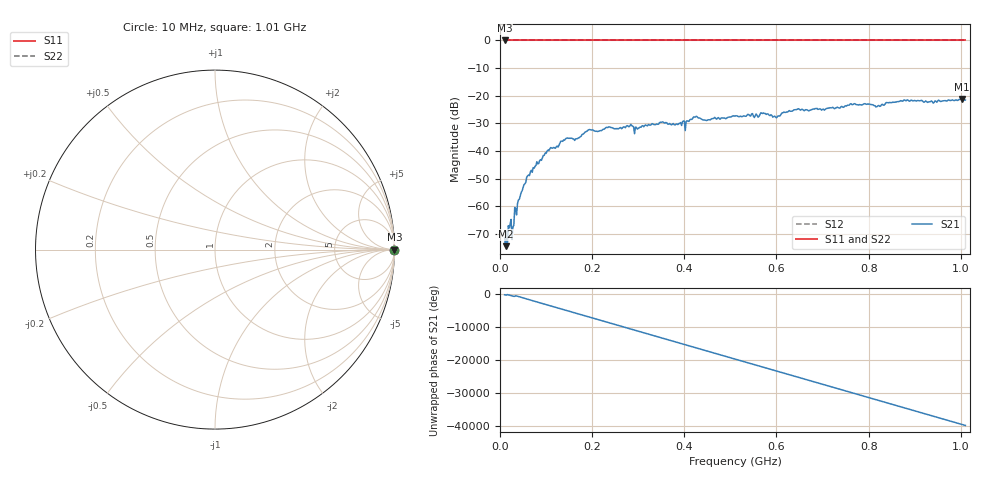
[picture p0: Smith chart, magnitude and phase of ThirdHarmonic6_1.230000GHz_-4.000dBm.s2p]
! 8/16/2025 12:58:30 PM
! C:\ANRITSUVNA\TEMP\TEMP.S2P
! CHANNEL.1
! TR.MEASUREMENT
! RAW.DATA
! RF.CORRECTION.OFF
! AVERAGING.OFF
! IF.BANDWIDTH: 5KHZ
! SWEEPTYPE:  FREQ.SWEEP(Linear)
! Reference Plane Port Info
! PORT:  PORT1  PORT2
! DISTANCE:  0  m  0  m
! TIME:  0  s  0  s
! PHASE.OFFSET:  0  deg.  0  deg.
! LOSS:  0  dB  0  dB
! REF.LOSS:  0  dB  0  dB
! REF.FREQ:  0  Hz  0  Hz
! Power Info
! POWER:  -20  dBm  -20  dBm
! EFF.POWER:  -20  dBm  -20  dBm
! SOURCE.ATTEN:  0  dB  0  dB
! TEST.ATTEN:  0  dB  0  dB
# GHZ S RI R 50.0
! FREQ.GHZ  S11RE  S11IM  S21RE  S21IM  S12RE  S12IM  S22RE  S22IM
!; PortSelection: Port_12
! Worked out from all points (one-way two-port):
!   501 points, 10 MHz to 1.01 GHz, reference 50 ohm
!   highest |S21| = -21.16 dB at 1.002 GHz (marker M1); lowest = -74.4 dB at 12 MHz (marker M2)
!   lowest |S11| = 0.0 dB at 10 MHz (marker M3)
!   |S11| at or under -10 dB: nowhere
!   |S22| runs from 0.0 to 0.0 dB; largest |S21 - S12| = 1.1
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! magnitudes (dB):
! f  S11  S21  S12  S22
! 10 MHz  0.0  -71.3  0.0  0.0
! 12 MHz  0.0  -74.4  0.0  0.0
! 20 MHz  0.0  -67.9  0.0  0.0
! 26 MHz  0.0  -72.0  0.0  0.0
! 36 MHz  0.0  -63.1  0.0  0.0
! 56 MHz  0.0  -51.4  0.0  0.0
! 76 MHz  0.0  -45.6  0.0  0.0
! 108 MHz  0.0  -39.2  0.0  0.0
! 142 MHz  0.0  -35.6  0.0  0.0
! 178 MHz  0.0  -34.0  0.0  0.0
! 196 MHz  0.0  -32.3  0.0  0.0
! 284 MHz  0.0  -30.4  0.0  0.0
! 296 MHz  0.0  -31.5  0.0  0.0
! 344 MHz  0.0  -30.3  0.0  0.0
! 510 MHz  0.0  -27.4  0.0  0.0
! 570 MHz  0.0  -26.4  0.0  0.0
! 596 MHz  0.0  -27.4  0.0  0.0
! 644 MHz  0.0  -25.0  0.0  0.0
! 678 MHz  0.0  -25.0  0.0  0.0
! 844 MHz  0.0  -22.5  0.0  0.0
! 1.002 GHz  0.0  -21.2  0.0  0.0
! 1.01 GHz  0.0  -21.6  0.0  0.0
